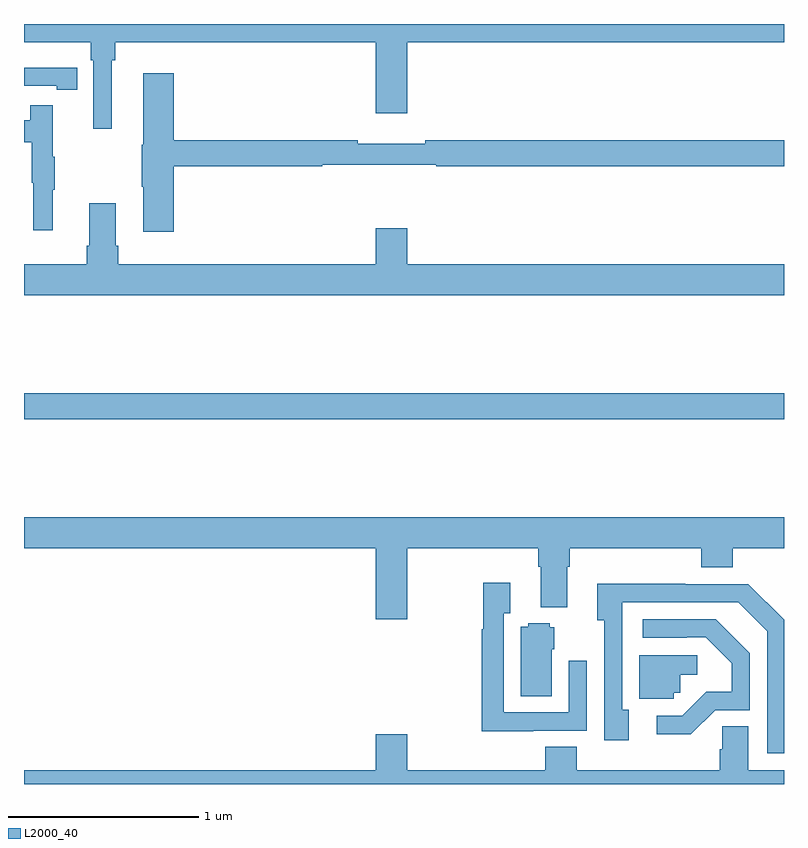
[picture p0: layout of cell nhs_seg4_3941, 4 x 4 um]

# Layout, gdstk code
import gdstk
lib = gdstk.Library(unit=1e-6, precision=1e-09)
def R(c, l, rs):  # rectangles x0, y0, x1, y1
    for r in rs: c.add(gdstk.rectangle(r[:2], r[2:], *l))
def P(c, l, *ps):  # polygons
    for p in ps: c.add(gdstk.Polygon(p, *l))
L2000_40 = (2000, 40)

nhs_seg4_3941 = lib.new_cell('nhs_seg4_3941')
R(nhs_seg4_3941, L2000_40, [(319,810.82,323,810.956)])
P(nhs_seg4_3941, L2000_40, [(319.462,812.708),(319.481,812.708),(319.481,812.804),(320.852,812.804),(320.852,812.43),(321.016,812.43),(321.016,812.804),(323,812.804),(323,812.9),(319,812.9),(319,812.804),(319.352,812.804),(319.352,812.708),(319.365,812.708),(319.365,812.349),(319.462,812.349)],
  [(319.28,812.67),(319.172,812.67),(319.172,812.671),(319,812.671),(319,812.574),(319.172,812.574),(319.172,812.554),(319.28,812.554)],
  [(319.787,812.152),(320.57,812.152),(320.57,812.16),(321.17,812.16),(321.17,812.152),(323,812.152),(323,812.288),(321.112,812.288),(321.112,812.269),(320.756,812.269),(320.756,812.288),(319.787,812.288),(319.787,812.641),(319.628,812.641),(319.628,812.265),(319.621,812.265),(319.621,812.044),(319.628,812.044),(319.628,811.806),(319.787,811.806)],
  [(319.151,812.027),(319.162,812.027),(319.162,812.201),(319.151,812.201),(319.151,812.473),(319.033,812.473),(319.033,812.394),(319,812.394),(319,812.278),(319.041,812.278),(319.041,812.064),(319.048,812.064),(319.048,811.815),(319.151,811.815)],
  [(323,811.636),(321.016,811.636),(321.016,811.825),(320.852,811.825),(320.852,811.636),(319.496,811.636),(319.496,811.732),(319.483,811.732),(319.483,811.957),(319.343,811.957),(319.343,811.732),(319.331,811.732),(319.331,811.636),(319,811.636),(319,811.472),(323,811.472)],
  [(321.016,810.14),(321.707,810.14),(321.707,810.044),(321.719,810.044),(321.719,809.831),(321.859,809.831),(321.859,810.044),(321.872,810.044),(321.872,810.14),(322.565,810.14),(322.565,810.041),(322.73,810.041),(322.73,810.14),(323,810.14),(323,810.304),(319,810.304),(319,810.14),(320.852,810.14),(320.852,809.766),(321.016,809.766)],
  [(321.679,809.181),(321.963,809.181),(321.963,809.548),(321.867,809.548),(321.867,809.277),(321.525,809.277),(321.525,809.798),(321.559,809.798),(321.559,809.959),(321.417,809.959),(321.417,809.714),(321.409,809.714),(321.409,809.177),(321.679,809.177)],
  [(323,809.764),(322.812,809.952),(322.481,809.952),(322.481,809.954),(322.016,809.954),(322.016,809.762),(322.053,809.762),(322.053,809.13),(322.183,809.13),(322.183,809.29),(322.149,809.29),(322.149,809.856),(322.758,809.856),(322.911,809.703),(322.911,809.061),(323,809.061)],
  [(322.638,809.289),(322.821,809.289),(322.821,809.587),(322.642,809.766),(322.257,809.766),(322.257,809.67),(322.487,809.67),(322.487,809.673),(322.587,809.673),(322.724,809.536),(322.724,809.386),(322.591,809.386),(322.464,809.259),(322.329,809.259),(322.329,809.162),(322.51,809.162)],
  [(321.778,809.61),(321.79,809.61),(321.79,809.724),(321.768,809.724),(321.768,809.746),(321.654,809.746),(321.654,809.728),(321.614,809.728),(321.614,809.362),(321.778,809.362)],
  [(322.419,809.379),(322.455,809.379),(322.455,809.474),(322.543,809.474),(322.543,809.577),(322.238,809.577),(322.238,809.349),(322.419,809.349)],
  [(323,808.972),(322.813,808.972),(322.813,809.204),(322.675,809.204),(322.675,809.082),(322.661,809.082),(322.661,808.972),(321.908,808.972),(321.908,809.096),(321.743,809.096),(321.743,808.972),(321.016,808.972),(321.016,809.161),(320.852,809.161),(320.852,808.972),(319,808.972),(319,808.9),(323,808.9)])

lib.write_gds('nhs_seg4_3941.gds')
